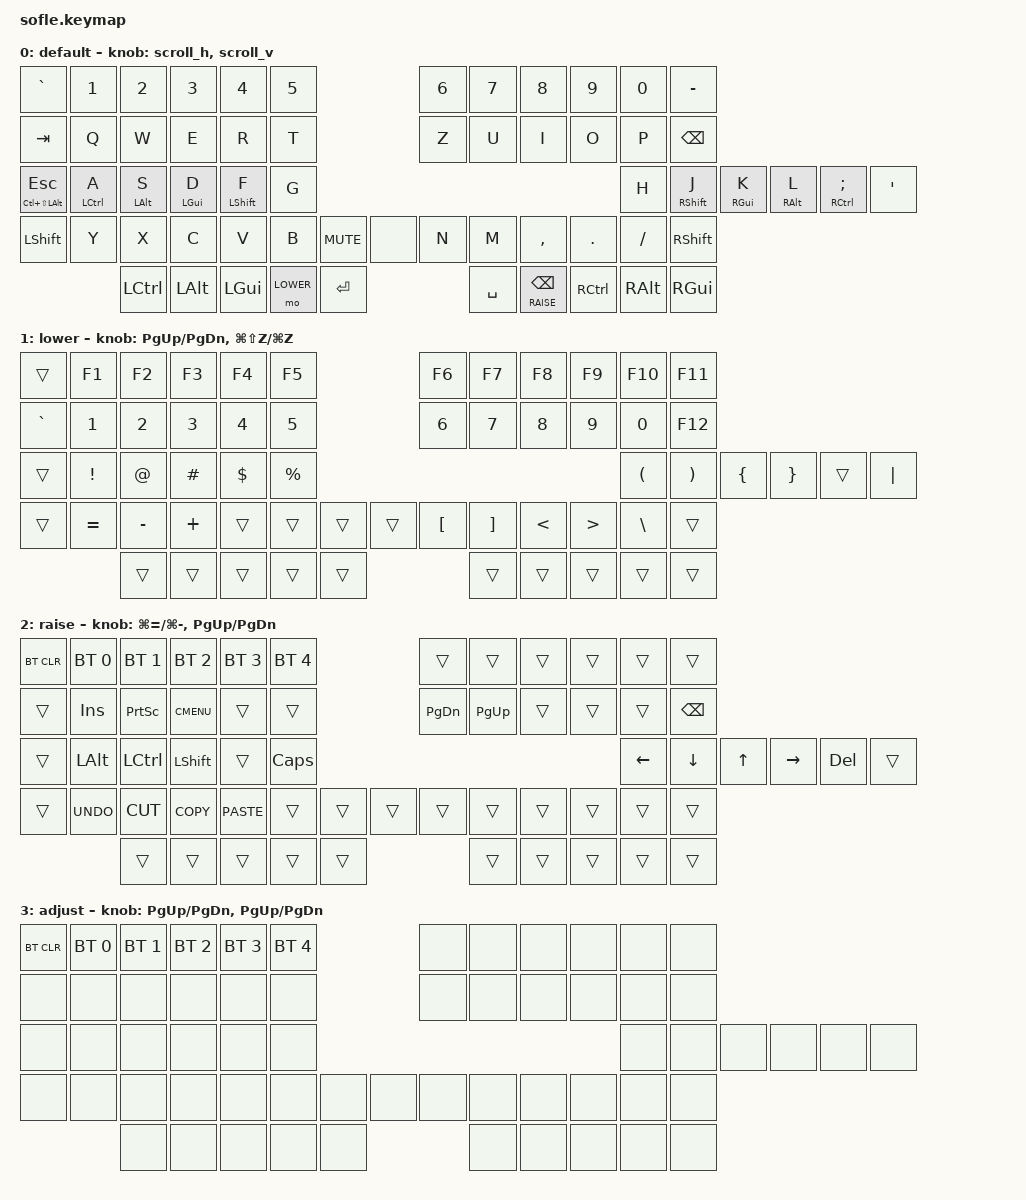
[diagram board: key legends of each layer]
/*
 * Copyright (c) 2020 The ZMK Contributors
 *
 * SPDX-License-Identifier: MIT
 */

#include <behaviors.dtsi>
#include <dt-bindings/zmk/keys.h>
#include <dt-bindings/zmk/bt.h>
#include <dt-bindings/zmk/rgb.h>
#include <dt-bindings/zmk/ext_power.h>
// Bump the default scroll velocity (10) so a single encoder detent emits a
// scroll the host actually registers. Must be defined BEFORE pointing.h, which
// expands SCRL_UP/DOWN to MOVE_Y(±ZMK_POINTING_DEFAULT_SCRL_VAL). Tune to taste.
#define ZMK_POINTING_DEFAULT_SCRL_VAL 40
#include <dt-bindings/zmk/pointing.h>

#define BASE 0
#define LOWER 1
#define RAISE 2
#define ADJUST 3

&led_strip {
    chain-length = <36>;
};

&nice_view_spi {
    cs-gpios = <&pro_micro 4 GPIO_ACTIVE_HIGH>;
};

// Tuning for the right-thumb Backspace/RAISE layer-tap (felt sluggish before).
// quick-tap-ms lets a tap-then-hold auto-repeat Backspace. Tune on hardware.
&lt {
    tapping-term-ms = <200>;
    flavor = "tap-preferred";
    quick-tap-ms = <175>;
};

/ {
    // Home-row mods (GACS): tap = letter, hold = modifier.
    // Positional hold-tap (hold only triggers when the NEXT key is on the opposite
    // hand or a thumb) + require-prior-idle-ms (hold only after a typing pause) kill
    // the classic mid-word misfires. Tune tapping-term/idle on hardware.
    behaviors {
        hml: home_row_mod_left {
            compatible = "zmk,behavior-hold-tap";
            #binding-cells = <2>;
            flavor = "balanced";
            tapping-term-ms = <200>;
            quick-tap-ms = <175>;
            require-prior-idle-ms = <150>;
            bindings = <&kp>, <&kp>;
            hold-trigger-key-positions = <6 7 8 9 10 11 18 19 20 21 22 23 30 31 32 33 34 35 44 45 46 47 48 49 50 51 52 53 54 55 56 57 58 59>;
            hold-trigger-on-release;
        };
        hmr: home_row_mod_right {
            compatible = "zmk,behavior-hold-tap";
            #binding-cells = <2>;
            flavor = "balanced";
            tapping-term-ms = <200>;
            quick-tap-ms = <175>;
            require-prior-idle-ms = <150>;
            bindings = <&kp>, <&kp>;
            hold-trigger-key-positions = <0 1 2 3 4 5 12 13 14 15 16 17 24 25 26 27 28 29 36 37 38 39 40 41 50 51 52 53 54 55 56 57 58 59>;
            hold-trigger-on-release;
        };

        // Faster Shift on F/J: shorter tapping term, no hold-trigger-on-release so it
        // commits at the next keypress. Opposite-hand only (same positions as hml/hmr).
        hml_shift: home_row_mod_left_shift {
            compatible = "zmk,behavior-hold-tap";
            #binding-cells = <2>;
            flavor = "balanced";
            tapping-term-ms = <140>;
            quick-tap-ms = <175>;
            require-prior-idle-ms = <150>;
            bindings = <&kp>, <&kp>;
            hold-trigger-key-positions = <6 7 8 9 10 11 18 19 20 21 22 23 30 31 32 33 34 35 44 45 46 47 48 49 50 51 52 53 54 55 56 57 58 59>;
        };
        hmr_shift: home_row_mod_right_shift {
            compatible = "zmk,behavior-hold-tap";
            #binding-cells = <2>;
            flavor = "balanced";
            tapping-term-ms = <140>;
            quick-tap-ms = <175>;
            require-prior-idle-ms = <150>;
            bindings = <&kp>, <&kp>;
            hold-trigger-key-positions = <0 1 2 3 4 5 12 13 14 15 16 17 24 25 26 27 28 29 36 37 38 39 40 41 50 51 52 53 54 55 56 57 58 59>;
        };

        // Encoder mouse-scroll (needs CONFIG_ZMK_POINTING). Flip CW/CCW on hardware if reversed.
        // tap-ms must be LARGE: a sensor-rotate detent holds the binding for tap-ms,
        // and the pointing system needs a long-enough hold to emit a scroll the host
        // registers. 40ms emitted nothing; 250ms is the ZMK-recommended working value
        // (zmkfirmware/zmk#72). Lower it later for snappier scroll if 250 feels laggy.
        scroll_v: scroll_vertical {
            compatible = "zmk,behavior-sensor-rotate";
            #sensor-binding-cells = <0>;
            bindings = <&msc SCRL_DOWN>, <&msc SCRL_UP>;
            tap-ms = <250>;
        };
        scroll_h: scroll_horizontal {
            compatible = "zmk,behavior-sensor-rotate";
            #sensor-binding-cells = <0>;
            bindings = <&msc SCRL_RIGHT>, <&msc SCRL_LEFT>;
            tap-ms = <250>;
        };
    };

    // ADJUST = hold LOWER + RAISE together
    conditional_layers {
        compatible = "zmk,conditional-layers";
        adjust_layer {
            if-layers = <LOWER RAISE>;
            then-layer = <ADJUST>;
        };
    };

    keymap {
        compatible = "zmk,keymap";

        default_layer {
            display-name = "default";
            // z<->y physically swapped (Y on the Z key, Z on the Y key); US keycodes.
            // L r3 col1 = tap Esc / hold MEH. Right thumb = tap Backspace / hold RAISE.
            bindings = <
&kp GRAVE             &kp N1 &kp N2 &kp N3 &kp N4 &kp N5                          &kp N6 &kp N7 &kp N8    &kp N9  &kp N0   &kp MINUS
&kp TAB               &kp Q  &kp W  &kp E  &kp R  &kp T                           &kp Z  &kp U  &kp I     &kp O   &kp P    &kp BSPC
&mt LC(LS(LALT)) ESC  &hml LCTRL A &hml LALT S &hml LGUI D &hml_shift LSHFT F &kp G       &kp H  &hmr_shift RSHFT J &hmr RGUI K &hmr RALT L &hmr RCTRL SEMI &kp SQT
&kp LSHFT             &kp Y  &kp X  &kp C  &kp V  &kp B  &kp C_MUTE  &none        &kp N  &kp M  &kp COMMA &kp DOT &kp FSLH &kp RSHFT
                             &kp LCTRL &kp LALT &kp LGUI &mo LOWER &kp RET    &kp SPACE &lt RAISE BSPC &kp RCTRL &kp RALT &kp RGUI
            >;
            // left knob = horizontal scroll, right knob = vertical scroll (mouse emulation)
            sensor-bindings = <&scroll_h &scroll_v>;
        };

        lower_layer {
            display-name = "lower";
            bindings = <
&trans    &kp F1    &kp F2    &kp F3   &kp F4   &kp F5                       &kp F6    &kp F7   &kp F8    &kp F9    &kp F10   &kp F11
&kp GRAVE &kp N1    &kp N2    &kp N3   &kp N4   &kp N5                       &kp N6    &kp N7   &kp N8    &kp N9    &kp N0    &kp F12
&trans    &kp EXCL  &kp AT    &kp HASH &kp DLLR &kp PRCNT                    &kp LPAR  &kp RPAR &kp LBRC  &kp RBRC  &trans    &kp PIPE
&trans    &kp EQUAL &kp MINUS &kp PLUS &trans   &trans    &trans   &trans    &kp LBKT  &kp RBKT &kp LT    &kp GT    &kp BSLH  &trans
                    &trans    &trans   &trans   &trans    &trans   &trans    &trans    &trans   &trans    &trans
            >;
            // LOWER held by LEFT thumb -> right knob free. Right = Undo/Redo (CW=redo, CCW=undo).
            sensor-bindings = <
                &inc_dec_kp PG_UP PG_DN
                &inc_dec_kp LG(LS(Z)) LG(Z)
            >;
        };

        raise_layer {
            display-name = "raise";
            bindings = <
&bt BT_CLR &bt BT_SEL 0 &bt BT_SEL 1 &bt BT_SEL 2 &bt BT_SEL 3 &bt BT_SEL 4                 &trans    &trans   &trans   &trans    &trans  &trans
&trans     &kp INS      &kp PSCRN    &kp K_CMENU  &trans       &trans                       &kp PG_DN &kp PG_UP &trans  &trans    &trans  &kp BSPC
&trans     &kp LALT     &kp LCTRL    &kp LSHFT    &trans       &kp CLCK                     &kp LEFT  &kp DOWN &kp UP   &kp RIGHT &kp DEL &trans
&trans     &kp K_UNDO   &kp K_CUT    &kp K_COPY   &kp K_PASTE  &trans       &trans  &trans  &trans    &trans   &trans   &trans    &trans  &trans
                        &trans       &trans       &trans       &trans       &trans  &trans  &trans    &trans   &trans   &trans
            >;
            // RAISE held by RIGHT thumb -> left knob free. Left = Zoom (CW=in, CCW=out).
            sensor-bindings = <
                &inc_dec_kp LG(EQUAL) LG(MINUS)
                &inc_dec_kp PG_UP PG_DN
            >;
        };

        adjust_layer {
            display-name = "adjust";
            // RGB/ext-power bindings removed (underglow disabled; toggling ext-power killed the
            // displays). Both thumbs are busy on ADJUST, so encoders are unreachable.
            bindings = <
&bt BT_CLR &bt BT_SEL 0 &bt BT_SEL 1 &bt BT_SEL 2 &bt BT_SEL 3 &bt BT_SEL 4               &none &none &none &none &none &none
&none      &none        &none        &none        &none        &none                      &none &none &none &none &none &none
&none      &none        &none        &none        &none        &none                      &none &none &none &none &none &none
&none      &none        &none        &none        &none        &none      &none   &none   &none &none &none &none &none &none
                        &none        &none        &none        &none      &none   &none   &none &none &none &none
            >;
            sensor-bindings = <
                &inc_dec_kp PG_UP PG_DN
                &inc_dec_kp PG_UP PG_DN
            >;
        };
    };
};
